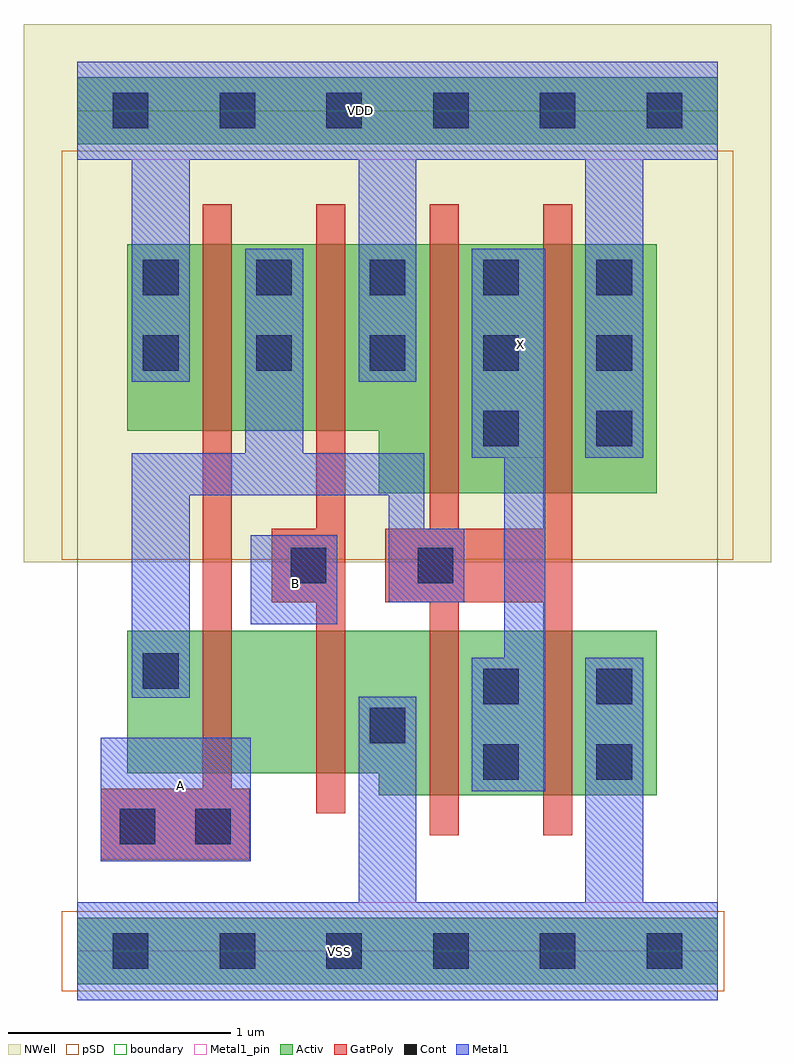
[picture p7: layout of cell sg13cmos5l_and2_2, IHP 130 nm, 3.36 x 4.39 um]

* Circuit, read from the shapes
.subckt sg13cmos5l_and2_2 A B VDD VSS X
XM1 n1 A n2 VSS sg13_lv_nmos w=0.64u l=0.13u
XM2 VSS B n1 VSS sg13_lv_nmos w=0.64u l=0.13u
XM3 X n2 VSS VSS sg13_lv_nmos w=0.74u l=0.13u m=2
XM4 n2 A VDD VDD sg13_lv_pmos w=0.84u l=0.13u
XM5 VDD B n2 VDD sg13_lv_pmos w=0.84u l=0.13u
XM6 X n2 VDD VDD sg13_lv_pmos w=1.12u l=0.13u m=2
.ends

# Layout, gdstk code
import gdstk
lib = gdstk.Library(unit=1e-6, precision=1e-09)
def R(c, l, rs):  # rectangles x0, y0, x1, y1
    for r in rs: c.add(gdstk.rectangle(r[:2], r[2:], *l))
def A(c, l, x, y, w, h, nx, ny, dx, dy):  # array of equal rectangles
    R(c, l, [(x+i*dx, y+j*dy, x+i*dx+w, y+j*dy+h) for i in range(nx) for j in range(ny)])
def P(c, l, *ps):  # polygons
    for p in ps: c.add(gdstk.Polygon(p, *l))
Activ = (1, 0)
GatPoly = (5, 0)
Cont = (6, 0)
Metal1 = (8, 0)
Metal1_pin = (8, 2)
pSD = (14, 0)
NWell = (31, 0)
boundary = (189, 4)

sg13cmos5l_and2_2 = lib.new_cell('sg13cmos5l_and2_2')
R(sg13cmos5l_and2_2, Activ, [(0,-0.15,2.88,0.15), (0,3.63,2.88,3.93)])
P(sg13cmos5l_and2_2, Activ, [(1.355,2.06),(1.355,2.34),(0.225,2.34),(0.225,3.18),(2.605,3.18),(2.605,2.06)],
  [(1.355,0.7),(1.355,0.8),(0.225,0.8),(0.225,1.44),(2.605,1.44),(2.605,0.7)])
P(sg13cmos5l_and2_2, GatPoly, [(1.075,0.62),(1.075,1.57),(0.875,1.57),(0.875,1.9),(1.075,1.9),(1.075,3.36),(1.205,3.36),(1.205,0.62)],
  [(0.105,0.41),(0.105,0.73),(0.565,0.73),(0.565,3.36),(0.695,3.36),(0.695,0.73),(0.775,0.73),(0.775,0.41)],
  [(1.585,0.52),(1.585,1.57),(1.385,1.57),(1.385,1.9),(1.585,1.9),(1.585,3.36),(1.715,3.36),(1.715,1.9),(2.095,1.9),(2.095,3.36),(2.225,3.36),(2.225,0.52),(2.095,0.52),(2.095,1.57),(1.715,1.57),(1.715,0.52)])
A(sg13cmos5l_and2_2, Cont, 0.16, -0.08, 0.16, 0.16, 6, 1, 0.48, 0)
A(sg13cmos5l_and2_2, Cont, 0.295, 2.61, 0.16, 0.16, 5, 2, 0.51, 0.34)
A(sg13cmos5l_and2_2, Cont, 1.6, 3.7, 0.16, 0.16, 3, 1, 0.48, 0)
R(sg13cmos5l_and2_2, Cont, [(0.19,0.48,0.35,0.64), (0.53,0.48,0.69,0.64), (1.825,0.77,1.985,0.93), (2.335,0.77,2.495,0.93), (1.315,0.935,1.475,1.095), (1.825,1.11,1.985,1.27), (2.335,1.11,2.495,1.27), (0.295,1.18,0.455,1.34), (0.96,1.655,1.12,1.815), (1.53,1.655,1.69,1.815), (1.825,2.27,1.985,2.43), (2.335,2.27,2.495,2.43), (0.16,3.7,0.32,3.86), (0.16,3.7,0.32,3.86), (0.16,3.7,0.32,3.86), (0.64,3.7,0.8,3.86), (0.64,3.7,0.8,3.86), (1.12,3.7,1.28,3.86), (1.12,3.7,1.28,3.86), (1.6,3.7,1.76,3.86)])
R(sg13cmos5l_and2_2, Metal1, [(0.105,0.405,0.78,0.96), (0.78,1.47,1.17,1.87)])
P(sg13cmos5l_and2_2, Metal1, [(2.285,2.22),(2.285,3.56),(1.525,3.56),(1.525,2.56),(1.265,2.56),(1.265,3.56),(0.505,3.56),(0.505,2.56),(0.245,2.56),(0.245,3.56),(0,3.56),(0,4),(2.88,4),(2.88,3.56),(2.545,3.56),(2.545,2.22)],
  [(0.245,1.14),(0.245,2.24),(0.755,2.24),(0.755,3.16),(1.015,3.16),(1.015,2.24),(1.56,2.24),(1.56,1.9),(1.74,1.9),(1.74,1.57),(1.4,1.57),(1.4,2.05),(0.505,2.05),(0.505,1.14)],
  [(0,-0.22),(0,0.22),(1.265,0.22),(1.265,1.145),(1.525,1.145),(1.525,0.22),(2.285,0.22),(2.285,1.32),(2.545,1.32),(2.545,0.22),(2.88,0.22),(2.88,-0.22)],
  [(1.775,0.72),(1.775,1.32),(1.92,1.32),(1.92,2.22),(1.775,2.22),(1.775,3.16),(2.105,3.16),(2.105,0.72)])
R(sg13cmos5l_and2_2, Metal1_pin, [(0,-0.22,2.88,0.22), (0.105,0.405,0.78,0.96), (0.78,1.47,1.17,1.87), (1.775,2.22,2.105,3.16), (0,3.56,2.88,4)])
R(sg13cmos5l_and2_2, pSD, [(-0.07,-0.18,2.91,0.18), (-0.07,1.76,2.95,3.6)])
R(sg13cmos5l_and2_2, NWell, [(-0.24,1.75,2.64,4.17), (-0.24,1.75,0.72,4.17), (2.16,1.75,3.12,4.17)])
R(sg13cmos5l_and2_2, boundary, [(0,0,2.88,3.78)])
sg13cmos5l_and2_2.add(gdstk.Label('A', (0.465,0.745), layer=8, texttype=25))
sg13cmos5l_and2_2.add(gdstk.Label('B', (0.98,1.655), layer=8, texttype=25))
sg13cmos5l_and2_2.add(gdstk.Label('VDD', (1.275,3.78), layer=8, texttype=25))
sg13cmos5l_and2_2.add(gdstk.Label('VSS', (1.18,0), layer=8, texttype=25))
sg13cmos5l_and2_2.add(gdstk.Label('X', (1.995,2.73), layer=8, texttype=25))

lib.write_gds('sg13cmos5l_and2_2.gds')
